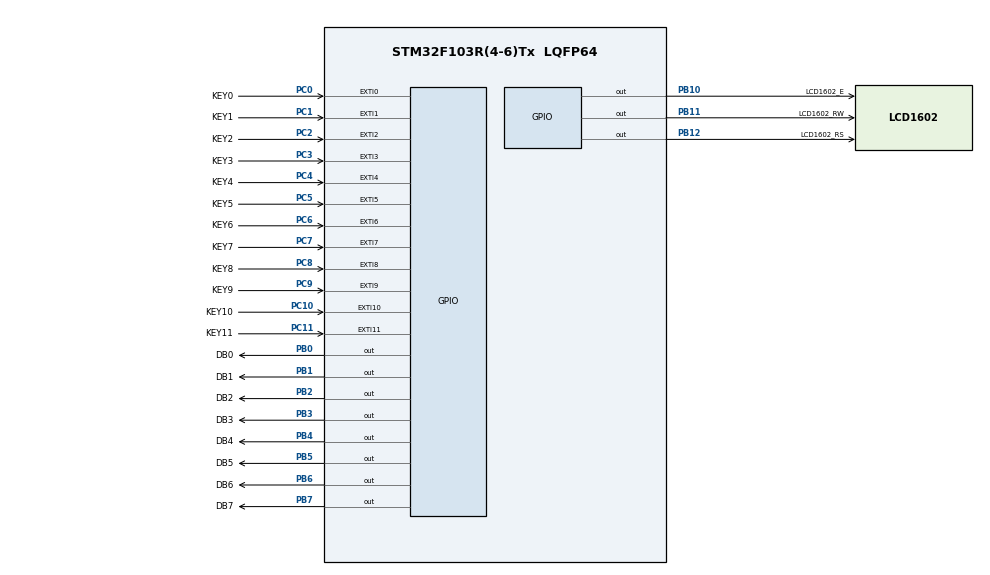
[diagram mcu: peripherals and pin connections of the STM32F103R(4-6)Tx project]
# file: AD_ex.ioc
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Mcu.Family=STM32F1
Mcu.Name=STM32F103R(4-6)Tx
Mcu.Package=LQFP64
NVIC.EXTI0_IRQn=true\:0\:0\:false\:false\:true
NVIC.EXTI15_10_IRQn=true\:0\:0\:false\:false\:true
NVIC.EXTI1_IRQn=true\:0\:0\:false\:false\:true
NVIC.EXTI2_IRQn=true\:0\:0\:false\:false\:true
NVIC.EXTI3_IRQn=true\:0\:0\:false\:false\:true
NVIC.EXTI4_IRQn=true\:0\:0\:false\:false\:true
NVIC.EXTI9_5_IRQn=true\:0\:0\:false\:false\:true
NVIC.PriorityGroup=NVIC_PRIORITYGROUP_4
PB0.GPIO_Label=DB0
PB0.GPIO_ModeDefaultOutputPP=GPIO_MODE_OUTPUT_OD
PB0.Signal=GPIO_Output
PB1.GPIO_Label=DB1
PB1.GPIO_ModeDefaultOutputPP=GPIO_MODE_OUTPUT_OD
PB1.Signal=GPIO_Output
PB10.GPIO_Label=LCD1602_E
PB10.Signal=GPIO_Output
PB11.GPIO_Label=LCD1602_RW
PB11.Signal=GPIO_Output
PB12.GPIO_Label=LCD1602_RS
PB12.Signal=GPIO_Output
PB2.GPIO_Label=DB2
PB2.GPIO_ModeDefaultOutputPP=GPIO_MODE_OUTPUT_OD
PB2.Signal=GPIO_Output
PB3.GPIO_Label=DB3
PB3.GPIO_ModeDefaultOutputPP=GPIO_MODE_OUTPUT_OD
PB3.Signal=GPIO_Output
PB4.GPIO_Label=DB4
PB4.GPIO_ModeDefaultOutputPP=GPIO_MODE_OUTPUT_OD
PB4.Signal=GPIO_Output
PB5.GPIO_Label=DB5
PB5.GPIO_ModeDefaultOutputPP=GPIO_MODE_OUTPUT_OD
PB5.Signal=GPIO_Output
PB6.GPIO_Label=DB6
PB6.GPIO_ModeDefaultOutputPP=GPIO_MODE_OUTPUT_OD
PB6.Signal=GPIO_Output
PB7.GPIO_Label=DB7
PB7.GPIO_ModeDefaultOutputPP=GPIO_MODE_OUTPUT_OD
PB7.Signal=GPIO_Output
PC0.GPIO_Label=KEY0
PC0.GPIO_ModeDefaultEXTI=GPIO_MODE_IT_FALLING
PC0.GPIO_PuPd=GPIO_PULLUP
PC0.Signal=GPXTI0
PC1.GPIO_Label=KEY1
PC1.GPIO_ModeDefaultEXTI=GPIO_MODE_IT_FALLING
PC1.GPIO_PuPd=GPIO_PULLUP
PC1.Signal=GPXTI1
PC10.GPIO_Label=KEY10
PC10.GPIO_ModeDefaultEXTI=GPIO_MODE_IT_FALLING
PC10.GPIO_PuPd=GPIO_PULLUP
PC10.Signal=GPXTI10
PC11.GPIO_Label=KEY11
PC11.GPIO_ModeDefaultEXTI=GPIO_MODE_IT_FALLING
PC11.GPIO_PuPd=GPIO_PULLUP
PC11.Signal=GPXTI11
PC2.GPIO_Label=KEY2
PC2.GPIO_ModeDefaultEXTI=GPIO_MODE_IT_FALLING
PC2.GPIO_PuPd=GPIO_PULLUP
PC2.Signal=GPXTI2
PC3.GPIO_Label=KEY3
PC3.GPIO_ModeDefaultEXTI=GPIO_MODE_IT_FALLING
PC3.GPIO_PuPd=GPIO_PULLUP
PC3.Signal=GPXTI3
PC4.GPIO_Label=KEY4
PC4.GPIO_ModeDefaultEXTI=GPIO_MODE_IT_FALLING
PC4.GPIO_PuPd=GPIO_PULLUP
PC4.Signal=GPXTI4
PC5.GPIO_Label=KEY5
PC5.GPIO_ModeDefaultEXTI=GPIO_MODE_IT_FALLING
PC5.GPIO_PuPd=GPIO_PULLUP
PC5.Signal=GPXTI5
PC6.GPIO_Label=KEY6
PC6.GPIO_ModeDefaultEXTI=GPIO_MODE_IT_FALLING
PC6.GPIO_PuPd=GPIO_PULLUP
PC6.Signal=GPXTI6
PC7.GPIO_Label=KEY7
PC7.GPIO_ModeDefaultEXTI=GPIO_MODE_IT_FALLING
PC7.GPIO_PuPd=GPIO_PULLUP
PC7.Signal=GPXTI7
PC8.GPIO_Label=KEY8
PC8.GPIO_ModeDefaultEXTI=GPIO_MODE_IT_FALLING
PC8.GPIO_PuPd=GPIO_PULLUP
PC8.Signal=GPXTI8
PC9.GPIO_Label=KEY9
PC9.GPIO_ModeDefaultEXTI=GPIO_MODE_IT_FALLING
PC9.GPIO_PuPd=GPIO_PULLUP
PC9.Signal=GPXTI9
ProjectManager.HeapSize=0x200
ProjectManager.StackSize=0x400
ProjectManager.TargetToolchain=MDK-ARM V5
RCC.APB1Freq_Value=8000000
RCC.APB2Freq_Value=8000000
VP_SYS_VS_ND.Mode=No_Debug
board=AD_ex

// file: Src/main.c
/**
  ******************************************************************************
  * File Name          : main.c
  * Description        : Main program body
  ******************************************************************************
  *
  * COPYRIGHT(c) 2021 STMicroelectronics
  *
  * Redistribution and use in source and binary forms, with or without modification,
  * are permitted provided that the following conditions are met:
  *   1. Redistributions of source code must retain the above copyright notice,
  *      this list of conditions and the following disclaimer.
  *   2. Redistributions in binary form must reproduce the above copyright notice,
  *      this list of conditions and the following disclaimer in the documentation
  *      and/or other materials provided with the distribution.
  *   3. Neither the name of STMicroelectronics nor the names of its contributors
  *      may be used to endorse or promote products derived from this software
  *      without specific prior written permission.
  *
  * THIS SOFTWARE IS PROVIDED BY THE COPYRIGHT HOLDERS AND CONTRIBUTORS "AS IS"
  * AND ANY EXPRESS OR IMPLIED WARRANTIES, INCLUDING, BUT NOT LIMITED TO, THE
  * IMPLIED WARRANTIES OF MERCHANTABILITY AND FITNESS FOR A PARTICULAR PURPOSE ARE
  * DISCLAIMED. IN NO EVENT SHALL THE COPYRIGHT HOLDER OR CONTRIBUTORS BE LIABLE
  * FOR ANY DIRECT, INDIRECT, INCIDENTAL, SPECIAL, EXEMPLARY, OR CONSEQUENTIAL
  * DAMAGES (INCLUDING, BUT NOT LIMITED TO, PROCUREMENT OF SUBSTITUTE GOODS OR
  * SERVICES; LOSS OF USE, DATA, OR PROFITS; OR BUSINESS INTERRUPTION) HOWEVER
  * CAUSED AND ON ANY THEORY OF LIABILITY, WHETHER IN CONTRACT, STRICT LIABILITY,
  * OR TORT (INCLUDING NEGLIGENCE OR OTHERWISE) ARISING IN ANY WAY OUT OF THE USE
  * OF THIS SOFTWARE, EVEN IF ADVISED OF THE POSSIBILITY OF SUCH DAMAGE.
  *
  ******************************************************************************
  */
#include "main.h"
#include "stm32f1xx_hal.h"

/* USER CODE BEGIN Includes */
#include "bsp-lcd1602.h"
#include "delay.h"

/* USER CODE END Includes */

/* USER CODE BEGIN PV */
/* Private variables ---------------------------------------------------------*/

/* USER CODE END PV */

void SystemClock_Config(void);
void Error_Handler(void);
static void MX_GPIO_Init(void);

/* USER CODE BEGIN PFP */
/* Private function prototypes -----------------------------------------------*/
	u16 Current_value=0;//电流
	long Frequence_value=0;//频率
/* USER CODE END PFP */

int main(void)
{

  /* USER CODE BEGIN 1 */
	  u8 start_x1=1,start_x2=1;//用来控制LCD1602显示数据的起始位置
  /* USER CODE END 1 */

  /* MCU Configuration----------------------------------------------------------*/

  /* Reset of all peripherals, Initializes the Flash interface and the Systick. */
  HAL_Init();

  /* Configure the system clock */
  SystemClock_Config();

  /* Initialize all configured peripherals */
  MX_GPIO_Init();

  /* USER CODE BEGIN 2 */
    LCD1602_Init();
    HAL_Delay(10);  //延时一段时间

    LCD1602_ShowStr(0,0,"Key Control ",12);
    LCD1602_ShowStr(0,1,"Current Frequ",13);

    HAL_Delay(500);//延时0.5S
    LCD1602_WriteCmd( 0x01);//清屏

  /* USER CODE END 2 */

  /* Infinite loop */
  while (1)
  {

  /* USER CODE BEGIN 3 */
			LCD1602_ShowNum(start_x1,0,Current_value/1000);//千  1
			LCD1602_ShowChar(start_x1+1, 0, '.');
			LCD1602_ShowNum(start_x1+2,0,Current_value%1000/100);//百  0
			LCD1602_ShowNum(start_x1+3,0,Current_value%1000%100/10);//十 1
			LCD1602_ShowNum(start_x1+4,0,Current_value%1000%100%10);//个2
			LCD1602_ShowChar(start_x1+5, 0, 'A');//单位

			LCD1602_ShowNum(start_x2,1,Frequence_value/100000);//十万
			LCD1602_ShowNum(start_x2+1,1,Frequence_value%100000/10000);//万
			LCD1602_ShowNum(start_x2+2,1,Frequence_value%100000%10000/1000);//千
			LCD1602_ShowChar(start_x2+3, 1, '.');
			LCD1602_ShowNum(start_x2+4,1,Frequence_value%100000%10000%1000/100);//百
			LCD1602_ShowNum(start_x2+5,1,Frequence_value%100000%10000%1000%100/10);//十
			LCD1602_ShowNum(start_x2+6,1,Frequence_value%100000%10000%1000%100%10);//个
			LCD1602_ShowChar(start_x2+7, 1, 'H');
			LCD1602_ShowChar(start_x2+8, 1, 'z');
    }
  /* USER CODE END 3 */

}

/** System Clock Configuration
*/
void SystemClock_Config(void)
{

  RCC_OscInitTypeDef RCC_OscInitStruct;
  RCC_ClkInitTypeDef RCC_ClkInitStruct;

    /**Initializes the CPU, AHB and APB busses clocks
    */
  RCC_OscInitStruct.OscillatorType = RCC_OSCILLATORTYPE_HSI;
  RCC_OscInitStruct.HSIState = RCC_HSI_ON;
  RCC_OscInitStruct.HSICalibrationValue = 16;
  RCC_OscInitStruct.PLL.PLLState = RCC_PLL_NONE;
  if (HAL_RCC_OscConfig(&RCC_OscInitStruct) != HAL_OK)
  {
    Error_Handler();
  }

    /**Initializes the CPU, AHB and APB busses clocks
    */
  RCC_ClkInitStruct.ClockType = RCC_CLOCKTYPE_HCLK|RCC_CLOCKTYPE_SYSCLK
                              |RCC_CLOCKTYPE_PCLK1|RCC_CLOCKTYPE_PCLK2;
  RCC_ClkInitStruct.SYSCLKSource = RCC_SYSCLKSOURCE_HSI;
  RCC_ClkInitStruct.AHBCLKDivider = RCC_SYSCLK_DIV1;
  RCC_ClkInitStruct.APB1CLKDivider = RCC_HCLK_DIV1;
  RCC_ClkInitStruct.APB2CLKDivider = RCC_HCLK_DIV1;

  if (HAL_RCC_ClockConfig(&RCC_ClkInitStruct, FLASH_LATENCY_0) != HAL_OK)
  {
    Error_Handler();
  }

    /**Configure the Systick interrupt time
    */
  HAL_SYSTICK_Config(HAL_RCC_GetHCLKFreq()/1000);

    /**Configure the Systick
    */
  HAL_SYSTICK_CLKSourceConfig(SYSTICK_CLKSOURCE_HCLK);

  /* SysTick_IRQn interrupt configuration */
  HAL_NVIC_SetPriority(SysTick_IRQn, 0, 0);
}

/** Configure pins as
        * Analog
        * Input
        * Output
        * EVENT_OUT
        * EXTI
*/
static void MX_GPIO_Init(void)
{

  GPIO_InitTypeDef GPIO_InitStruct;

  /* GPIO Ports Clock Enable */
  __HAL_RCC_GPIOC_CLK_ENABLE();
  __HAL_RCC_GPIOB_CLK_ENABLE();

  /*Configure GPIO pins : KEY0_Pin KEY1_Pin KEY2_Pin KEY3_Pin
                           KEY4_Pin KEY5_Pin KEY6_Pin KEY7_Pin
                           KEY8_Pin KEY9_Pin KEY10_Pin KEY11_Pin */
  GPIO_InitStruct.Pin = KEY0_Pin|KEY1_Pin|KEY2_Pin|KEY3_Pin
                          |KEY4_Pin|KEY5_Pin|KEY6_Pin|KEY7_Pin
                          |KEY8_Pin|KEY9_Pin|KEY10_Pin|KEY11_Pin;
  GPIO_InitStruct.Mode = GPIO_MODE_IT_FALLING;
  GPIO_InitStruct.Pull = GPIO_PULLUP;
  HAL_GPIO_Init(GPIOC, &GPIO_InitStruct);

  /*Configure GPIO pins : DB0_Pin DB1_Pin DB2_Pin DB3_Pin
                           DB4_Pin DB5_Pin DB6_Pin DB7_Pin */
  GPIO_InitStruct.Pin = DB0_Pin|DB1_Pin|DB2_Pin|DB3_Pin
                          |DB4_Pin|DB5_Pin|DB6_Pin|DB7_Pin;
  GPIO_InitStruct.Mode = GPIO_MODE_OUTPUT_OD;
  GPIO_InitStruct.Speed = GPIO_SPEED_FREQ_LOW;
  HAL_GPIO_Init(GPIOB, &GPIO_InitStruct);

  /*Configure GPIO pins : LCD1602_E_Pin LCD1602_RW_Pin LCD1602_RS_Pin */
  GPIO_InitStruct.Pin = LCD1602_E_Pin|LCD1602_RW_Pin|LCD1602_RS_Pin;
  GPIO_InitStruct.Mode = GPIO_MODE_OUTPUT_PP;
  GPIO_InitStruct.Speed = GPIO_SPEED_FREQ_LOW;
  HAL_GPIO_Init(GPIOB, &GPIO_InitStruct);

  /*Configure GPIO pin Output Level */
  HAL_GPIO_WritePin(GPIOB, DB0_Pin|DB1_Pin|DB2_Pin|LCD1602_E_Pin
                          |LCD1602_RW_Pin|LCD1602_RS_Pin|DB3_Pin|DB4_Pin
                          |DB5_Pin|DB6_Pin|DB7_Pin, GPIO_PIN_RESET);

  /* EXTI interrupt init*/
  HAL_NVIC_SetPriority(EXTI0_IRQn, 0, 0);
  HAL_NVIC_EnableIRQ(EXTI0_IRQn);

  HAL_NVIC_SetPriority(EXTI1_IRQn, 0, 0);
  HAL_NVIC_EnableIRQ(EXTI1_IRQn);

  HAL_NVIC_SetPriority(EXTI2_IRQn, 0, 0);
  HAL_NVIC_EnableIRQ(EXTI2_IRQn);

  HAL_NVIC_SetPriority(EXTI3_IRQn, 0, 0);
  HAL_NVIC_EnableIRQ(EXTI3_IRQn);

  HAL_NVIC_SetPriority(EXTI4_IRQn, 0, 0);
  HAL_NVIC_EnableIRQ(EXTI4_IRQn);

  HAL_NVIC_SetPriority(EXTI9_5_IRQn, 0, 0);
  HAL_NVIC_EnableIRQ(EXTI9_5_IRQn);

  HAL_NVIC_SetPriority(EXTI15_10_IRQn, 0, 0);
  HAL_NVIC_EnableIRQ(EXTI15_10_IRQn);

}

//中断回调函数里面
//缩小一千倍
/* USER CODE BEGIN 4 */
void HAL_GPIO_EXTI_Callback(uint16_t GPIO_Pin)
{
	   switch(GPIO_Pin)
		 {
				case KEY0_Pin:Current_value=1012;
				 break;
				case KEY1_Pin:Current_value=911;
				 break;
				case KEY2_Pin:Current_value=828;
					break;
			  case KEY3_Pin:Frequence_value=49955;
				 break;
			  case KEY4_Pin:Frequence_value=99912;
				 break;
			  case KEY5_Pin:Frequence_value=200112;
				 break;
				case KEY6_Pin:Current_value=705;
				 break;
				case KEY7_Pin:Current_value=619;
				 break;
				case KEY8_Pin:Current_value=572;
					break;
			  case KEY9_Pin:Frequence_value=399720;
				 break;
			  case KEY10_Pin:Frequence_value=500750;
				 break;
			  case KEY11_Pin:Frequence_value=599520;
				 break;
				default:break;
		 }
}

/* USER CODE END 4 */

void Error_Handler(void)
{
  while(1)
  {
  }
}

/************************ (C) COPYRIGHT STMicroelectronics *****END OF FILE****/
